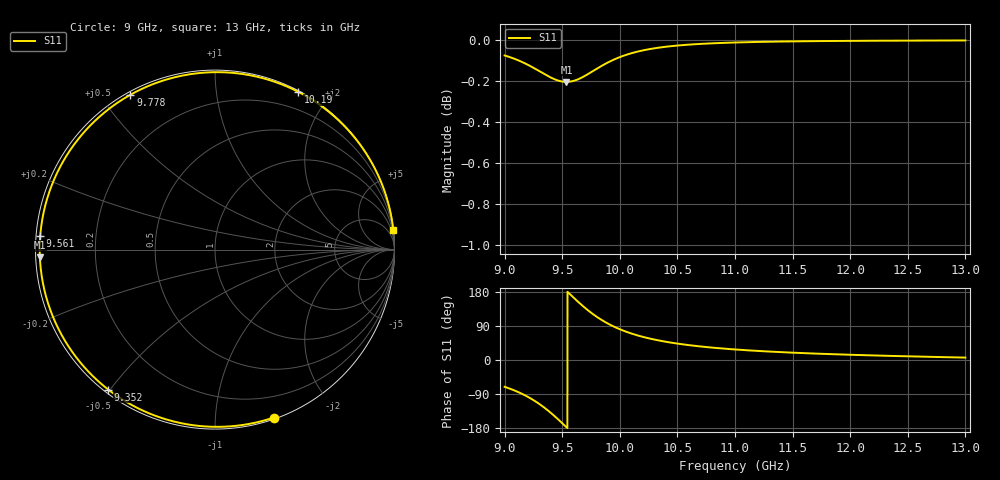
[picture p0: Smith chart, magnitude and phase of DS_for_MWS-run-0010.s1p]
! TOUCHSTONE file generated by CST DESIGN STUDIO
! Date and time: Tue Feb  4 15:47:25 2025
! Project name: C:\Work\MatlabApps\UnitCellOptimizationMatlab\CST\unitcell.cst
! Tree item: Tasks\Sweep1\SPara1\S-Parameters
! Header version: 2024
! Port assignment regex: !\s*Touchstone port\s*([0-9]+)\s*=\s*(CST MWS port|CST DES external port|CST DES block port)\s*(.+)\s* \(\"(.*)\"\)(\s*mode\s*([0-9]+))?.*
! Touchstone port assignment:
! Touchstone port 1 = CST DES external port 1 ("")
# GHz S MA R 50
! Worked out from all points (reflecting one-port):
!   4001 points, 9 GHz to 13 GHz, reference 50 ohm
!   lowest |S11| = -0.2 dB at 9.537 GHz (marker M1), VSWR 84.63, Z = 0.591 - j1.12 ohm
!   phase of S11 starts at -71 deg and turns -283 deg over the sweep
!   S11 on the Smith chart (normalised r, x): 9 GHz: 0.01, -1.41; 9.352 GHz: 0.01, -0.49; 9.561 GHz: 0.01, +0.04; 9.778 GHz: 0.01, +0.59; 10.19 GHz: 0.01, +1.66; 13 GHz: 0, +18
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9  0.9912 -70.7
9.099  0.989 -82.1
9.208  0.9858 -98.3
9.284  0.9832 -112.4
9.352  0.9807 -127.3
9.423  0.9784 -145.2
9.463  0.9774 -156.2
9.5  0.9768 -166.7
9.537  0.9766 -177.4
9.561  0.9767 175.6
9.615  0.9775 160.0
9.676  0.9792 143.2
9.727  0.981 130.3
9.778  0.983 118.6
9.826  0.9848 108.7
9.877  0.9867 99.4
9.934  0.9885 90.3
10  0.9903 81.2
10.089  0.9922 71.0
10.185  0.9938 62.3
10.329  0.9955 52.1
10.5  0.9967 43.3
10.721  0.9977 35.1
11  0.9984 27.8
11.5  0.999 19.3
12  0.9993 13.8
12.5  0.9995 9.7
13  0.9996 6.4
